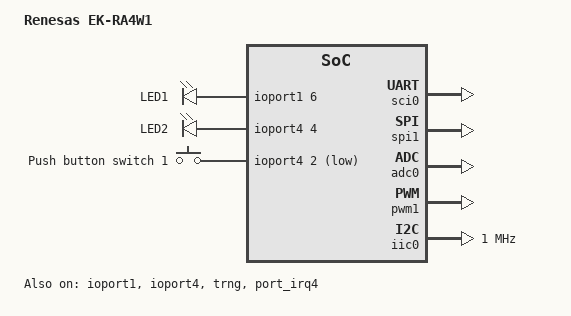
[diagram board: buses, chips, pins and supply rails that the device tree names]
/*
 * Copyright (c) 2024 Renesas Electronics Corporation
 * SPDX-License-Identifier: Apache-2.0
 */

/dts-v1/;

#include <renesas/ra/ra4/r7fa4w1ad2cng.dtsi>
#include <dt-bindings/gpio/gpio.h>
#include <dt-bindings/input/input-event-codes.h>
#include <zephyr/dt-bindings/adc/adc.h>
#include "ek_ra4w1-pinctrl.dtsi"

/ {
	model = "Renesas EK-RA4W1";
	compatible = "renesas,ra4w1", "renesas,ra";

	chosen {
		zephyr,sram = &sram0;
		zephyr,flash = &flash0;
		zephyr,console = &uart0;
		zephyr,shell-uart = &uart0;
		zephyr,entropy = &trng;
	};

	leds {
		compatible = "gpio-leds";
		led1: led1 {
			gpios = <&ioport1 6 GPIO_ACTIVE_HIGH>;
			label = "LED1";
		};

		led2: led2 {
			gpios = <&ioport4 4 GPIO_ACTIVE_HIGH>;
			label = "LED2";
		};
	};

	buttons {
		compatible = "gpio-keys";
		button0: s1 {
			gpios = <&ioport4 2 (GPIO_PULL_UP | GPIO_ACTIVE_LOW)>;
			label = "Push button switch 1";
			zephyr,code = <INPUT_KEY_0>;
		};
	};

	aliases {
		led0 = &led1;
		sw0 = &button0;
	};
};

&subclk {
	status = "okay";
};

&sci0 {
	pinctrl-0 = <&sci0_default>;
	pinctrl-names = "default";
	status = "okay";
	uart0: uart {
		current-speed = <115200>;
		status = "okay";
	};
};

&ioport1 {
	status = "okay";
};

&ioport4 {
	status = "okay";
};

&spi1 {
	pinctrl-0 = <&spi1_default>;
	pinctrl-names = "default";
	status = "okay";
};

&trng {
	status = "okay";
};

&adc0 {
	status = "okay";
	pinctrl-0 = <&adc0_default>;
	pinctrl-names = "default";
};

&port_irq4 {
	interrupts = <31 12>;
	status = "okay";
};

&pwm1 {
	pinctrl-0 = <&pwm1_default>;
	pinctrl-names = "default";
	interrupts = <8 1>, <9 1>;
	interrupt-names = "gtioca", "overflow";
	status = "okay";
};

&iic0 {
	pinctrl-0 = <&iic0_default>;
	pinctrl-names = "default";
	#address-cells = <1>;
	#size-cells = <0>;
	clock-frequency = <DT_FREQ_M(1)>;
	interrupts = <10 1>, <11 1>, <12 1>, <13 1>;
	interrupt-names = "rxi", "txi", "tei", "eri";
	status = "okay";
};
